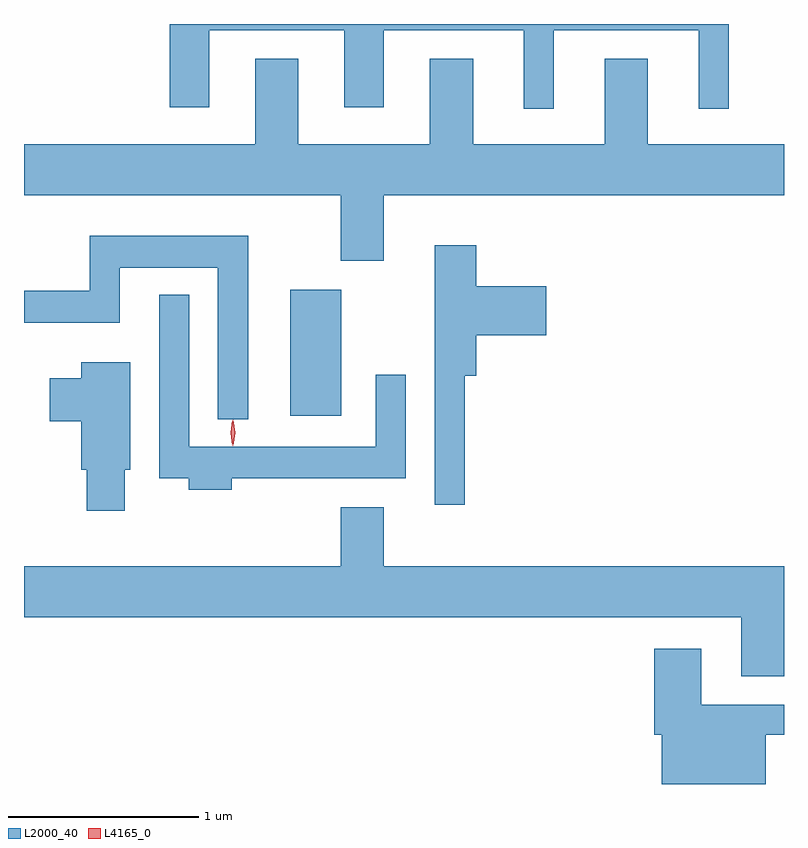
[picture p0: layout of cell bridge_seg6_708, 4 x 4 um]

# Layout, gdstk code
import gdstk
lib = gdstk.Library(unit=1e-6, precision=1e-09)
def R(c, l, rs):  # rectangles x0, y0, x1, y1
    for r in rs: c.add(gdstk.rectangle(r[:2], r[2:], *l))
def P(c, l, *ps):  # polygons
    for p in ps: c.add(gdstk.Polygon(p, *l))
L2000_40 = (2000, 40)
L4165_0 = (4165, 0)

bridge_seg6_708 = lib.new_cell('bridge_seg6_708')
R(bridge_seg6_708, L2000_40, [(585.626,1535.556,585.894,1536.219)])
P(bridge_seg6_708, L2000_40, [(587.014,1537.586),(587.776,1537.586),(587.776,1537.173),(587.934,1537.173),(587.934,1537.618),(584.991,1537.618),(584.991,1537.181),(585.199,1537.181),(585.199,1537.586),(585.911,1537.586),(585.911,1537.181),(586.119,1537.181),(586.119,1537.586),(586.856,1537.586),(586.856,1537.173),(587.014,1537.173)],
  [(586.119,1536.716),(588.225,1536.716),(588.225,1536.984),(587.509,1536.984),(587.509,1537.434),(587.281,1537.434),(587.281,1536.984),(586.589,1536.984),(586.589,1537.434),(586.361,1537.434),(586.361,1536.984),(585.669,1536.984),(585.669,1537.434),(585.441,1537.434),(585.441,1536.984),(584.225,1536.984),(584.225,1536.716),(585.891,1536.716),(585.891,1536.371),(586.119,1536.371)],
  [(585.404,1536.504),(584.571,1536.504),(584.571,1536.214),(584.225,1536.214),(584.225,1536.046),(584.729,1536.046),(584.729,1536.336),(585.246,1536.336),(585.246,1535.538),(585.404,1535.538)],
  [(586.544,1535.766),(586.604,1535.766),(586.604,1535.981),(586.974,1535.981),(586.974,1536.239),(586.604,1536.239),(586.604,1536.454),(586.386,1536.454),(586.386,1535.088),(586.544,1535.088)],
  [(585.319,1535.226),(586.234,1535.226),(586.234,1535.773),(586.076,1535.773),(586.076,1535.394),(585.094,1535.394),(585.094,1536.193),(584.936,1536.193),(584.936,1535.226),(585.091,1535.226),(585.091,1535.166),(585.319,1535.166)],
  [(584.754,1535.271),(584.784,1535.271),(584.784,1535.839),(584.526,1535.839),(584.526,1535.754),(584.361,1535.754),(584.361,1535.526),(584.526,1535.526),(584.526,1535.271),(584.556,1535.271),(584.556,1535.056),(584.754,1535.056)],
  [(588.225,1534.764),(586.119,1534.764),(586.119,1535.074),(585.891,1535.074),(585.891,1534.764),(584.225,1534.764),(584.225,1534.496),(588.001,1534.496),(588.001,1534.186),(588.225,1534.186)],
  [(588.129,1533.876),(588.225,1533.876),(588.225,1534.034),(587.789,1534.034),(587.789,1534.329),(587.541,1534.329),(587.541,1533.876),(587.581,1533.876),(587.581,1533.618),(588.129,1533.618)])
P(bridge_seg6_708, L4165_0, [(585.322,1535.399),(585.321,1535.4),(585.312,1535.466),(585.321,1535.533),(585.322,1535.533),(585.322,1535.533),(585.332,1535.466),(585.322,1535.4)],
  [(585.325,1535.397),(585.316,1535.467),(585.325,1535.536),(585.326,1535.536),(585.326,1535.536),(585.336,1535.467),(585.326,1535.397),(585.326,1535.397)])

lib.write_gds('bridge_seg6_708.gds')
